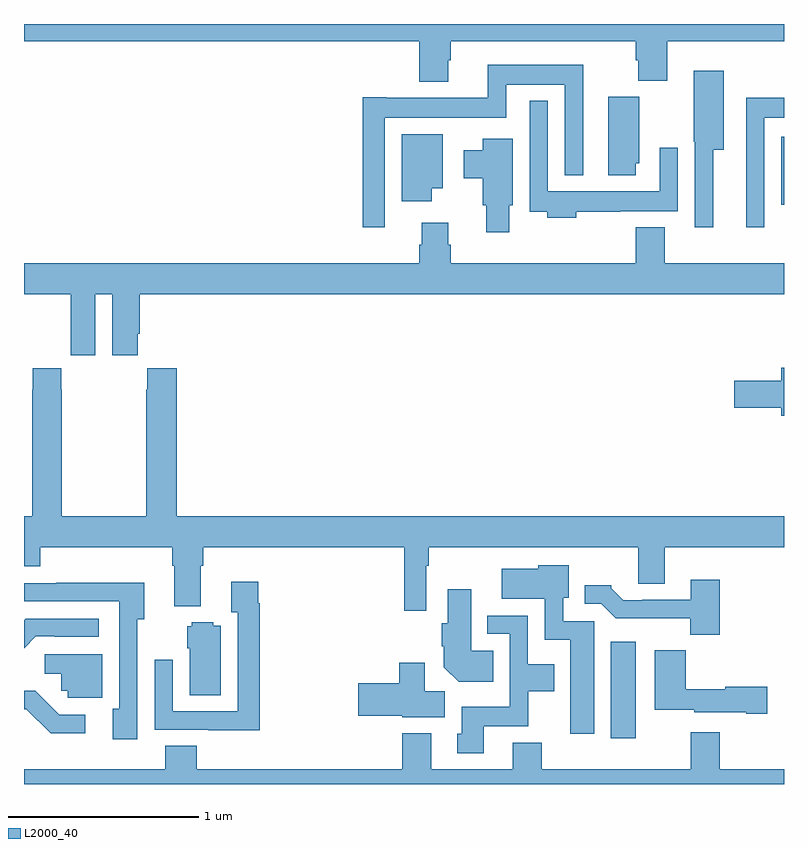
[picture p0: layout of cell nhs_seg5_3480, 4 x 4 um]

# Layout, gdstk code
import gdstk
lib = gdstk.Library(unit=1e-6, precision=1e-09)
def R(c, l, rs):  # rectangles x0, y0, x1, y1
    for r in rs: c.add(gdstk.rectangle(r[:2], r[2:], *l))
def P(c, l, *ps):  # polygons
    for p in ps: c.add(gdstk.Polygon(p, *l))
L2000_40 = (2000, 40)

nhs_seg5_3480 = lib.new_cell('nhs_seg5_3480')
R(nhs_seg5_3480, L2000_40, [(318.089,905.04,318.22,905.548), (318.986,907.848,319,908.206)])
P(nhs_seg5_3480, L2000_40, [(318.221,908.609),(318.233,908.609),(318.233,908.5),(318.386,908.5),(318.386,908.708),(319,908.708),(319,908.799),(315,908.799),(315,908.708),(317.081,908.708),(317.081,908.495),(317.233,908.495),(317.233,908.607),(317.246,908.607),(317.246,908.708),(318.221,908.708)],
  [(316.899,908.306),(317.538,908.306),(317.538,908.48),(317.847,908.48),(317.847,908.003),(317.944,908.003),(317.944,908.584),(317.441,908.584),(317.441,908.41),(316.906,908.41),(316.906,908.413),(316.783,908.413),(316.783,907.728),(316.899,907.728)],
  [(318.628,908.138),(318.682,908.138),(318.682,908.554),(318.524,908.554),(318.524,908.178),(318.531,908.178),(318.531,907.728),(318.628,907.728)],
  [(318.22,908.067),(318.238,908.067),(318.238,908.415),(318.074,908.415),(318.074,908.004),(318.22,908.004)],
  [(318.897,908.306),(319,908.306),(319,908.41),(318.801,908.41),(318.801,908.078),(318.8,908.078),(318.8,907.728),(318.897,907.728)],
  [(317.906,907.812),(318.137,907.812),(318.137,907.814),(318.441,907.814),(318.441,908.149),(318.345,908.149),(318.345,907.918),(317.757,907.918),(317.757,908.395),(317.661,908.395),(317.661,907.812),(317.753,907.812),(317.753,907.778),(317.906,907.778)],
  [(317.146,907.934),(317.203,907.934),(317.203,908.218),(316.988,908.218),(316.988,907.866),(317.146,907.866)],
  [(317.554,907.845),(317.572,907.845),(317.572,908.194),(317.414,908.194),(317.414,908.134),(317.315,908.134),(317.315,907.987),(317.414,907.987),(317.414,907.845),(317.432,907.845),(317.432,907.704),(317.554,907.704)],
  [(315.376,907.376),(315.464,907.376),(315.464,907.056),(315.598,907.056),(315.598,907.168),(315.608,907.168),(315.608,907.376),(319,907.376),(319,907.54),(318.373,907.54),(318.373,907.729),(318.221,907.729),(318.221,907.54),(317.246,907.54),(317.246,907.638),(317.233,907.638),(317.233,907.753),(317.093,907.753),(317.093,907.638),(317.081,907.638),(317.081,907.54),(315,907.54),(315,907.376),(315.245,907.376),(315.245,907.168),(315.246,907.168),(315.246,907.056),(315.376,907.056)],
  [(319,906.991),(318.986,906.991),(318.986,906.921),(318.738,906.921),(318.738,906.779),(318.986,906.779),(318.986,906.737),(319,906.737)],
  [(317.118,905.948),(317.131,905.948),(317.131,906.044),(318.233,906.044),(318.233,905.854),(318.373,905.854),(318.373,906.044),(319,906.044),(319,906.208),(315.803,906.208),(315.803,906.988),(315.649,906.988),(315.649,906.875),(315.643,906.875),(315.643,906.208),(315.198,906.208),(315.198,906.875),(315.195,906.875),(315.195,906.988),(315.045,906.988),(315.045,906.875),(315.043,906.875),(315.043,906.208),(315,906.208),(315,905.945),(315.086,905.945),(315.086,906.044),(315.779,906.044),(315.779,905.948),(315.791,905.948),(315.791,905.735),(315.931,905.735),(315.931,905.948),(315.944,905.948),(315.944,906.044),(317.002,906.044),(317.002,905.712),(317.118,905.712)],
  [(318.001,905.655),(317.838,905.655),(317.838,905.778),(317.866,905.778),(317.866,905.95),(317.706,905.95),(317.706,905.932),(317.514,905.932),(317.514,905.774),(317.742,905.774),(317.742,905.558),(317.876,905.558),(317.876,905.064),(318.001,905.064)],
  [(318.662,905.875),(318.509,905.875),(318.509,905.769),(318.253,905.769),(318.253,905.766),(318.154,905.766),(318.09,905.83),(318.09,905.845),(317.951,905.845),(317.951,905.748),(318.039,905.748),(318.115,905.672),(318.507,905.672),(318.507,905.585),(318.662,905.585)],
  [(316.241,905.75),(316.234,905.75),(316.234,905.863),(316.091,905.863),(316.091,905.702),(316.125,905.702),(316.125,905.181),(315.783,905.181),(315.783,905.452),(315.687,905.452),(315.687,905.085),(315.971,905.085),(315.971,905.081),(316.241,905.081)],
  [(315.597,905.666),(315.634,905.666),(315.634,905.858),(315.169,905.858),(315.169,905.856),(315,905.856),(315,905.76),(315.501,905.76),(315.501,905.194),(315.467,905.194),(315.467,905.034),(315.597,905.034)],
  [(317.471,905.5),(317.353,905.5),(317.353,905.824),(317.231,905.824),(317.231,905.646),(317.198,905.646),(317.198,905.524),(317.21,905.524),(317.21,905.414),(317.288,905.336),(317.471,905.336)],
  [(317.419,905.102),(317.655,905.102),(317.655,905.288),(317.791,905.288),(317.791,905.428),(317.652,905.428),(317.652,905.685),(317.439,905.685),(317.439,905.589),(317.556,905.589),(317.556,905.206),(317.303,905.206),(317.303,905.064),(317.279,905.064),(317.279,904.962),(317.419,904.962)],
  [(315.063,905.577),(315.163,905.577),(315.163,905.574),(315.394,905.574),(315.394,905.67),(315.008,905.67),(315,905.662),(315,905.514)],
  [(316.036,905.632),(315.996,905.632),(315.996,905.65),(315.882,905.65),(315.882,905.628),(315.86,905.628),(315.86,905.514),(315.872,905.514),(315.872,905.266),(316.036,905.266)],
  [(318.913,905.312),(318.69,905.312),(318.69,905.299),(318.482,905.299),(318.482,905.503),(318.32,905.503),(318.32,905.189),(318.528,905.189),(318.528,905.177),(318.8,905.177),(318.8,905.17),(318.913,905.17)],
  [(315.412,905.481),(315.108,905.481),(315.108,905.378),(315.195,905.378),(315.195,905.289),(315.231,905.289),(315.231,905.253),(315.412,905.253)],
  [(317.215,905.288),(317.11,905.288),(317.11,905.437),(316.976,905.437),(316.976,905.33),(316.758,905.33),(316.758,905.159),(316.992,905.159),(316.992,905.15),(317.215,905.15)],
  [(315.322,905.163),(315.186,905.163),(315.059,905.29),(315,905.29),(315,905.193),(315.012,905.193),(315.14,905.066),(315.322,905.066)],
  [(319,904.876),(318.662,904.876),(318.662,905.071),(318.509,905.071),(318.509,904.876),(317.726,904.876),(317.726,905.017),(317.573,905.017),(317.573,904.876),(317.143,904.876),(317.143,905.065),(316.991,905.065),(316.991,904.876),(315.908,904.876),(315.908,905),(315.743,905),(315.743,904.876),(315,904.876),(315,904.799),(319,904.799)])

lib.write_gds('nhs_seg5_3480.gds')
